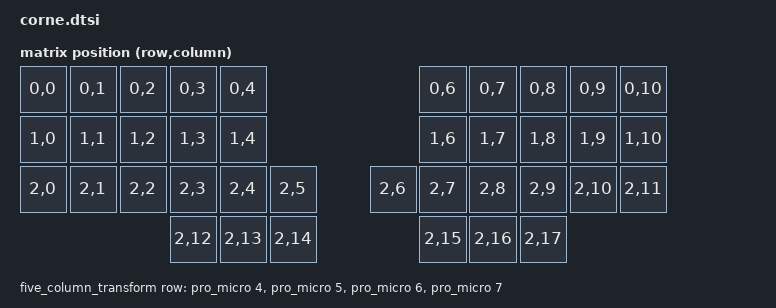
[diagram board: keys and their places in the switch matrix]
/*
 * Copyright (c) 2020 Pete Johanson
 *
 * SPDX-License-Identifier: MIT
 */

#include <dt-bindings/zmk/matrix_transform.h>

#include <layouts/foostan/corne/5column.dtsi>




&foostan_corne_5col_layout {
    transform = <&five_column_transform>;
};

&{/chosen} {
    /* Display padrão do teclado */
    zephyr,display = &oled;

    /* Driver de varredura da matriz */
    zmk,kscan = &kscan0;

    /* AJUSTE 1/2: usar 5 colunas por lado (10 no total) */
    zmk,physical-layout = &foostan_corne_5col_layout;
};

/* ----- Transforms ----- */
/* Mapeamento 6x2 (12 colunas totais) — mantido para referência/uso futuro */


/* AJUSTE 2/2: Transform de 5 colunas por lado (removendo a 1ª e a 12ª colunas) */
five_column_transform: keymap_transform_1 {
    compatible = "zmk,matrix-transform";
    columns = <10>;
    rows = <4>;
    // | SW2  | SW3  | SW4  | SW5  | SW6  |   | SW6  | SW5  | SW4  | SW3  | SW2  |
    // | SW8  | SW9  | SW10 | SW11 | SW12 |   | SW12 | SW11 | SW10 | SW9  | SW8  |
    // | SW14 | SW15 | SW16 | SW17 | SW18 |   | SW18 | SW17 | SW16 | SW15 | SW14 |
    //               | SW19 | SW20 | SW21 |   | SW21 | SW20 | SW19 |
    map = <
     /* Use este transform quando quiser 5 colunas por lado (10 no total). 
 * Removemos as colunas centrais C5 (esq) e C6 (dir), preservando C0.
 */
five_column_transform: keymap_transform_1 {
    compatible = "zmk,matrix-transform";
    columns = <12>;
    rows = <4>;
    // Linha 0
    // | C0  C1  C2  C3  C4 |   | C7  C8  C9  C10 C11 |
    map = <
       RC(0,0) RC(0,1) RC(0,2) RC(0,3) RC(0,4)                         RC(0,6) RC(0,7) RC(0,8) RC(0,9) RC(0,10)
       RC(1,0) RC(1,1) RC(1,2) RC(1,3) RC(1,4)                         RC(1,6) RC(1,7) RC(1,8) RC(1,9) RC(1,10)
       RC(2,0) RC(2,1) RC(2,2) RC(2,3) RC(2,4) RC(2,5)         RC(2,6) RC(2,7) RC(2,8) RC(2,9) RC(2,10) RC(2,11)
                                 RC(2,12) RC(2,13) RC(2,14)         RC(2,15) RC(2,16) RC(2,17)
    >;
};

    >;
};

/* ----- KSCAN ----- */
kscan0: kscan {
    compatible = "zmk,kscan-gpio-matrix";
    wakeup-source;

    diode-direction = "col2row";

    /* As linhas permanecem iguais; as colunas “removidas” são descartadas pelo five_column_transform */
    row-gpios
        = <&pro_micro 4 (GPIO_ACTIVE_HIGH | GPIO_PULL_DOWN)>
        , <&pro_micro 5 (GPIO_ACTIVE_HIGH | GPIO_PULL_DOWN)>
        , <&pro_micro 6 (GPIO_ACTIVE_HIGH | GPIO_PULL_DOWN)>
        , <&pro_micro 7 (GPIO_ACTIVE_HIGH | GPIO_PULL_DOWN)>
        ;
};

/* ----- OLED no barramento I2C do Pro Micro ----- */
&pro_micro_i2c {
    status = "okay";

    oled: ssd1306@3c {
        /* Use a forma compatível que você já utiliza no restante do projeto.
           Se o driver exigir o sufixo -i2c, troque abaixo para "solomon,ssd1306fb-i2c". */
        compatible = "solomon,ssd1306fb";
        reg = <0x3c>;
        width = <128>;
        height = <32>;
        segment-offset = <0>;
        page-offset = <0>;
        display-offset = <0>;
        multiplex-ratio = <31>;
        segment-remap;
        com-invdir;
        com-sequential;
        inversion-on;
        prechargep = <0x22>;
    };
};

